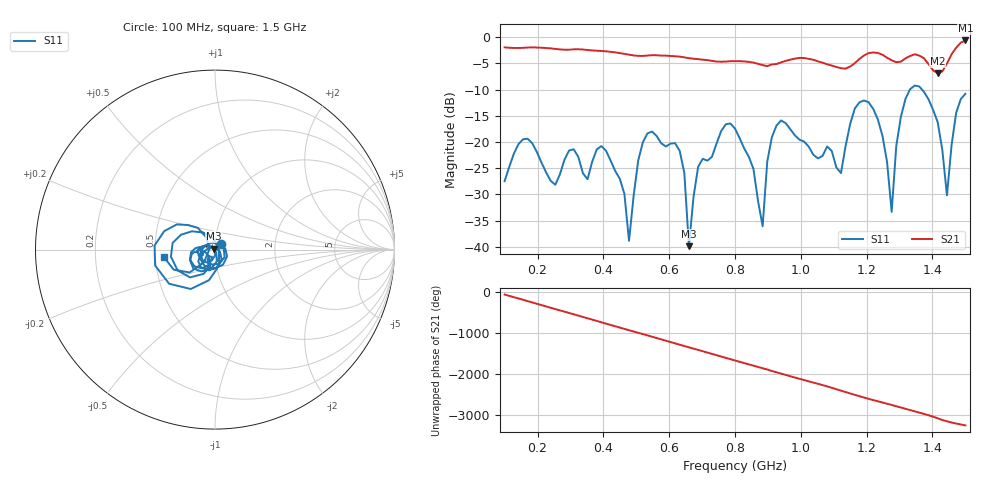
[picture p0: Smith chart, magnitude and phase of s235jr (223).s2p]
! NanoVNA-App
! Date: 2025-09-25 15:05:54
! Start: 100MHz Stop: 1,5GHz Points: 101
! S-Parameter data: F S11 S21 S12 S22
# Hz S RI R 50
!  Frequency  S11_Real  S11_Imag  S21_Real  S21_Imag  S12_Real  S12_Imag  S22_Real  S22_Imag
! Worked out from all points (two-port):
!   101 points, 100 MHz to 1.5 GHz, reference 50 ohm
!   highest |S21| = -0.65 dB at 1.5 GHz (marker M1); lowest = -6.9 dB at 1.416 GHz (marker M2)
!   |S21| within 3 dB of the highest: start of sweep to 614.1 MHz; 1.189 GHz to 1.255 GHz (65.61 MHz wide, 5.37 % of centre) (the widest 2 of 4)
!   lowest |S11| = -39.9 dB at 660 MHz (marker M3), VSWR 1.02, Z = 49.2 + j0.591 ohm
!   |S11| at or under -10 dB: start of sweep to 1.332 GHz; 1.368 GHz to end of sweep
!   S12 and S22 are empty: the file has one direction only
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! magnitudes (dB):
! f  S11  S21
! 100 MHz  -27.5  -2.0
! 170 MHz  -19.4  -2.0
! 338 MHz  -26.0  -2.4
! 408 MHz  -21.6  -2.7
! 478 MHz  -38.8  -3.4
! 520 MHz  -20.1  -3.6
! 576 MHz  -20.2  -3.5
! 632 MHz  -21.7  -3.7
! 660 MHz  -39.9  -4.0
! 688 MHz  -24.7  -4.2
! 800 MHz  -17.4  -4.6
! 884 MHz  -36.1  -5.4
! 926 MHz  -16.9  -5.1
! 1.038 GHz  -22.4  -4.3
! 1.122 GHz  -25.9  -5.9
! 1.206 GHz  -12.4  -3.1
! 1.276 GHz  -33.3  -4.4
! 1.29 GHz  -20.8  -4.8
! 1.332 GHz  -9.9  -3.6
! 1.416 GHz  -16.3  -6.9
! 1.444 GHz  -30.2  -5.0
! 1.5 GHz  -10.8  -0.7
